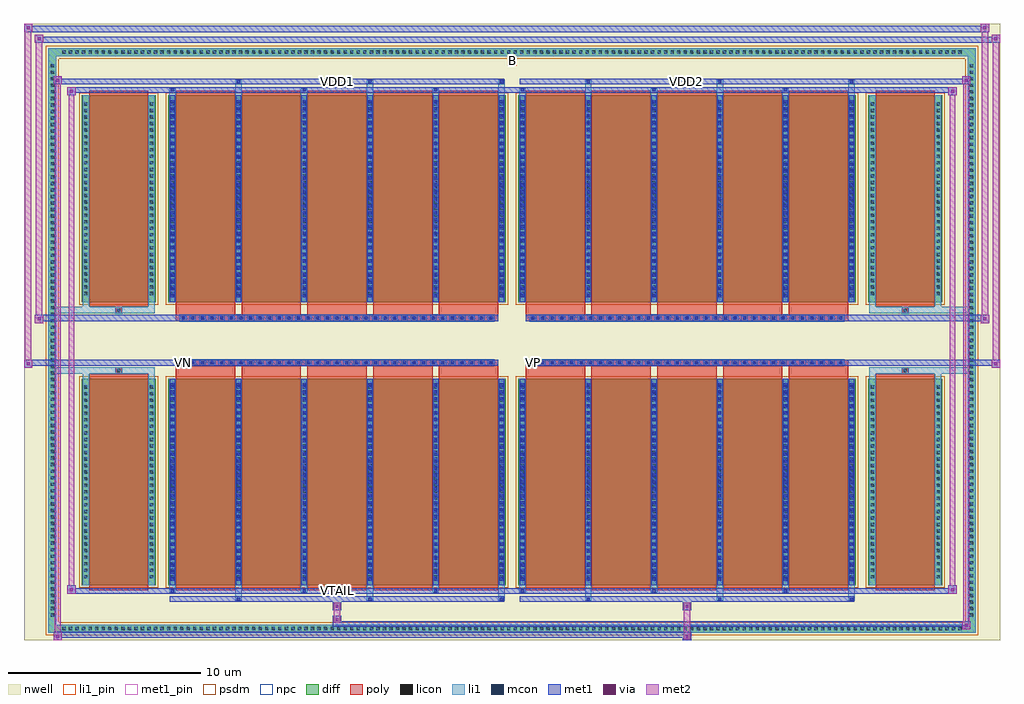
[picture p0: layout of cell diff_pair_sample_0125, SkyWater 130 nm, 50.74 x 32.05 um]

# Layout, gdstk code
import gdstk
lib = gdstk.Library(unit=1e-6, precision=5e-09)
def R(c, l, rs):  # rectangles x0, y0, x1, y1
    for r in rs: c.add(gdstk.rectangle(r[:2], r[2:], *l))
def A(c, l, x, y, w, h, nx, ny, dx, dy):  # array of equal rectangles
    R(c, l, [(x+i*dx, y+j*dy, x+i*dx+w, y+j*dy+h) for i in range(nx) for j in range(ny)])
def P(c, l, *ps):  # polygons
    for p in ps: c.add(gdstk.Polygon(p, *l))
nwell = (64, 20)
diff = (65, 20)
poly = (66, 20)
licon = (66, 44)
li1_pin = (67, 16)
li1 = (67, 20)
mcon = (67, 44)
met1_pin = (68, 16)
met1 = (68, 20)
via = (68, 44)
met2 = (69, 20)
psdm = (94, 20)
npc = (95, 20)

diff_pair_sample_0125 = lib.new_cell('diff_pair_sample_0125')
R(diff_pair_sample_0125, nwell, [(-25.37,-15.59,25.37,16.46), (-22.69,-13.78,-0.01,-0.8), (0.01,-13.78,22.69,-0.8), (-22.69,0.8,-0.01,13.78), (0.01,0.8,22.69,13.78)])
A(diff_pair_sample_0125, diff, -23.495, -15.19, 0.41, 0.41, 138, 2, 0.34, 29.97)
A(diff_pair_sample_0125, diff, -24.1, -14.485, 0.41, 0.41, 1, 85, 0, 0.34)
A(diff_pair_sample_0125, diff, 23.69, -14.485, 0.41, 0.41, 1, 85, 0, 0.34)
R(diff_pair_sample_0125, diff, [(-23.495,-15.19,23.495,-14.78), (-24.1,-14.485,-23.69,14.485), (23.69,-14.485,24.1,14.485), (-22.38,-12.735,-18.51,-1.985), (-17.87,-12.735,-0.32,-1.985), (0.32,-12.735,17.87,-1.985), (18.51,-12.735,22.38,-1.985), (-22.38,1.985,-18.51,12.735), (-17.87,1.985,-0.32,12.735), (0.32,1.985,17.87,12.735), (18.51,1.985,22.38,12.735), (-23.495,14.78,23.495,15.19)])
P(diff_pair_sample_0125, diff, [(24.1,15.19),(-24.1,15.19),(-24.1,-14.78),(-23.69,-14.78),(-23.69,14.78),(23.69,14.78),(23.69,-14.78),(-23.69,-14.78),(-24.1,-14.78),(-24.1,-15.19),(24.1,-15.19)])
A(diff_pair_sample_0125, poly, -17.48, -12.985, 3.09, 11.25, 5, 2, 3.42, 14.72)
A(diff_pair_sample_0125, poly, 0.71, -12.985, 3.09, 11.25, 5, 2, 3.42, 14.72)
A(diff_pair_sample_0125, poly, -17.48, -1.735, 3.09, 0.405, 5, 2, 3.42, 3.065)
A(diff_pair_sample_0125, poly, 0.71, -1.735, 3.09, 0.405, 5, 2, 3.42, 3.065)
A(diff_pair_sample_0125, poly, -17.26, -1.33, 0.33, 0.33, 33, 2, 0.5, 2.33)
A(diff_pair_sample_0125, poly, 0.93, -1.33, 0.33, 0.33, 33, 2, 0.5, 2.33)
R(diff_pair_sample_0125, poly, [(-21.99,-12.985,-18.9,-1.735), (18.9,-12.985,21.99,-1.735), (-20.61,-1.735,-20.28,-1.405), (-20.61,-1.735,-20.28,-1.405), (20.28,-1.735,20.61,-1.405), (20.28,-1.735,20.61,-1.405), (-17.48,-1.33,-0.71,-1), (0.71,-1.33,17.48,-1), (-17.48,1,-0.71,1.33), (0.71,1,17.48,1.33), (-20.61,1.405,-20.28,1.735), (-20.61,1.405,-20.28,1.735), (20.28,1.405,20.61,1.735), (20.28,1.405,20.61,1.735), (-21.99,1.735,-18.9,12.985), (18.9,1.735,21.99,12.985)])
A(diff_pair_sample_0125, licon, -23.375, -15.07, 0.17, 0.17, 138, 2, 0.34, 29.97)
A(diff_pair_sample_0125, licon, -23.98, -14.365, 0.17, 0.17, 1, 85, 0, 0.34)
A(diff_pair_sample_0125, licon, 23.81, -14.365, 0.17, 0.17, 1, 85, 0, 0.34)
A(diff_pair_sample_0125, licon, -22.24, -12.375, 0.17, 0.17, 1, 30, 0, 0.34)
A(diff_pair_sample_0125, licon, -18.82, -12.375, 0.17, 0.17, 1, 30, 0, 0.34)
A(diff_pair_sample_0125, licon, -17.73, -12.375, 0.17, 0.17, 6, 30, 3.42, 0.34)
A(diff_pair_sample_0125, licon, 0.46, -12.375, 0.17, 0.17, 6, 30, 3.42, 0.34)
A(diff_pair_sample_0125, licon, 18.65, -12.375, 0.17, 0.17, 1, 30, 0, 0.34)
A(diff_pair_sample_0125, licon, 22.07, -12.375, 0.17, 0.17, 1, 30, 0, 0.34)
A(diff_pair_sample_0125, licon, -17.18, -1.25, 0.17, 0.17, 33, 2, 0.5, 2.33)
A(diff_pair_sample_0125, licon, 1.01, -1.25, 0.17, 0.17, 33, 2, 0.5, 2.33)
A(diff_pair_sample_0125, licon, -22.24, 2.345, 0.17, 0.17, 1, 30, 0, 0.34)
A(diff_pair_sample_0125, licon, -18.82, 2.345, 0.17, 0.17, 1, 30, 0, 0.34)
A(diff_pair_sample_0125, licon, -17.73, 2.345, 0.17, 0.17, 6, 30, 3.42, 0.34)
A(diff_pair_sample_0125, licon, 0.46, 2.345, 0.17, 0.17, 6, 30, 3.42, 0.34)
A(diff_pair_sample_0125, licon, 18.65, 2.345, 0.17, 0.17, 1, 30, 0, 0.34)
A(diff_pair_sample_0125, licon, 22.07, 2.345, 0.17, 0.17, 1, 30, 0, 0.34)
R(diff_pair_sample_0125, licon, [(-20.53,-1.655,-20.36,-1.485), (20.36,-1.655,20.53,-1.485), (-20.53,1.485,-20.36,1.655), (20.36,1.485,20.53,1.655)])
R(diff_pair_sample_0125, li1_pin, [(-0.25,14.28,0.25,14.78)])
A(diff_pair_sample_0125, li1, -23.455, -15.15, 0.33, 0.33, 138, 2, 0.34, 29.97)
A(diff_pair_sample_0125, li1, -24.06, -14.445, 0.33, 0.33, 1, 85, 0, 0.34)
A(diff_pair_sample_0125, li1, 23.73, -14.445, 0.33, 0.33, 1, 85, 0, 0.34)
A(diff_pair_sample_0125, li1, -14.39, -13.54, 0.33, 0.805, 3, 2, 6.84, 26.275)
A(diff_pair_sample_0125, li1, -14.31, -13.54, 0.17, 0.17, 3, 2, 6.84, 26.91)
A(diff_pair_sample_0125, li1, 3.8, -13.54, 0.33, 0.805, 3, 2, 6.84, 26.275)
A(diff_pair_sample_0125, li1, 3.88, -13.54, 0.17, 0.17, 3, 2, 6.84, 26.91)
A(diff_pair_sample_0125, li1, -17.81, -13.11, 0.33, 0.375, 3, 2, 6.84, 25.845)
A(diff_pair_sample_0125, li1, -17.73, -13.11, 0.17, 0.17, 3, 2, 6.84, 26.05)
A(diff_pair_sample_0125, li1, 0.38, -13.11, 0.33, 0.375, 3, 2, 6.84, 25.845)
A(diff_pair_sample_0125, li1, 0.46, -13.11, 0.17, 0.17, 3, 2, 6.84, 26.05)
A(diff_pair_sample_0125, li1, -17.81, -12.735, 0.33, 10.75, 6, 2, 3.42, 14.72)
A(diff_pair_sample_0125, li1, 0.38, -12.735, 0.33, 10.75, 6, 2, 3.42, 14.72)
A(diff_pair_sample_0125, li1, -17.73, -12.485, 0.17, 0.17, 6, 29, 3.42, 0.36)
A(diff_pair_sample_0125, li1, -17.73, -12.485, 0.17, 10.25, 6, 2, 3.42, 14.72)
A(diff_pair_sample_0125, li1, 0.46, -12.485, 0.17, 0.17, 6, 29, 3.42, 0.36)
A(diff_pair_sample_0125, li1, 0.46, -12.485, 0.17, 10.25, 6, 2, 3.42, 14.72)
A(diff_pair_sample_0125, li1, -22.32, -12.455, 0.33, 0.33, 1, 30, 0, 0.34)
A(diff_pair_sample_0125, li1, -18.9, -12.455, 0.33, 0.33, 1, 30, 0, 0.34)
A(diff_pair_sample_0125, li1, -17.81, -12.455, 0.33, 0.33, 6, 30, 3.42, 0.34)
A(diff_pair_sample_0125, li1, 0.38, -12.455, 0.33, 0.33, 6, 30, 3.42, 0.34)
A(diff_pair_sample_0125, li1, 18.57, -12.455, 0.33, 0.33, 1, 30, 0, 0.34)
A(diff_pair_sample_0125, li1, 21.99, -12.455, 0.33, 0.33, 1, 30, 0, 0.34)
A(diff_pair_sample_0125, li1, -17.26, -1.33, 0.33, 0.33, 33, 2, 0.5, 2.33)
A(diff_pair_sample_0125, li1, 0.93, -1.33, 0.33, 0.33, 33, 2, 0.5, 2.33)
A(diff_pair_sample_0125, li1, -17.73, 2.235, 0.17, 0.17, 6, 29, 3.42, 0.36)
A(diff_pair_sample_0125, li1, 0.46, 2.235, 0.17, 0.17, 6, 29, 3.42, 0.36)
A(diff_pair_sample_0125, li1, -22.32, 2.265, 0.33, 0.33, 1, 30, 0, 0.34)
A(diff_pair_sample_0125, li1, -18.9, 2.265, 0.33, 0.33, 1, 30, 0, 0.34)
A(diff_pair_sample_0125, li1, -17.81, 2.265, 0.33, 0.33, 6, 30, 3.42, 0.34)
A(diff_pair_sample_0125, li1, 0.38, 2.265, 0.33, 0.33, 6, 30, 3.42, 0.34)
A(diff_pair_sample_0125, li1, 18.57, 2.265, 0.33, 0.33, 1, 30, 0, 0.34)
A(diff_pair_sample_0125, li1, 21.99, 2.265, 0.33, 0.33, 1, 30, 0, 0.34)
R(diff_pair_sample_0125, li1, [(-24.1,-15.19,-23.69,-14.78), (-24.1,-15.19,-23.69,-14.78), (-23.69,-15.19,23.69,-14.78), (23.69,-15.19,24.1,-14.78), (23.69,-15.19,24.1,-14.78), (-24.1,-14.78,-23.69,14.78), (23.69,-14.78,24.1,14.78), (-22.32,-12.735,-21.99,-1.985), (-18.9,-12.735,-18.57,-1.985), (18.57,-12.735,18.9,-1.985), (21.99,-12.735,22.32,-1.985), (-22.32,-1.985,-21.99,-1.405), (-18.9,-1.985,-18.57,-1.405), (18.57,-1.985,18.9,-1.405), (21.99,-1.985,22.32,-1.405), (-24.1,-1.735,-20.61,-1.405), (-22.32,-1.735,-20.61,-1.405), (-20.61,-1.735,-20.28,-1.405), (-20.28,-1.735,-18.57,-1.405), (18.57,-1.735,20.28,-1.405), (20.28,-1.735,20.61,-1.405), (20.28,-1.735,24.1,-1.405), (20.61,-1.735,22.32,-1.405), (-24.1,1.405,-20.61,1.735), (-22.32,1.405,-20.61,1.735), (-22.32,1.405,-21.99,1.985), (-20.61,1.405,-20.28,1.735), (-20.28,1.405,-18.57,1.735), (-18.9,1.405,-18.57,1.985), (18.57,1.405,20.28,1.735), (18.57,1.405,18.9,1.985), (20.28,1.405,20.61,1.735), (20.28,1.405,24.1,1.735), (20.61,1.405,22.32,1.735), (21.99,1.405,22.32,1.985), (-22.32,1.985,-21.99,12.735), (-18.9,1.985,-18.57,12.735), (18.57,1.985,18.9,12.735), (21.99,1.985,22.32,12.735), (-24.1,14.78,-23.69,15.19), (-24.1,14.78,-23.69,15.19), (-23.69,14.78,23.69,15.19), (23.69,14.78,24.1,15.19), (23.69,14.78,24.1,15.19)])
A(diff_pair_sample_0125, mcon, -14.31, -13.54, 0.17, 0.17, 3, 2, 6.84, 26.91)
A(diff_pair_sample_0125, mcon, 3.88, -13.54, 0.17, 0.17, 3, 2, 6.84, 26.91)
A(diff_pair_sample_0125, mcon, -17.73, -13.11, 0.17, 0.17, 3, 2, 6.84, 26.05)
A(diff_pair_sample_0125, mcon, 0.46, -13.11, 0.17, 0.17, 3, 2, 6.84, 26.05)
A(diff_pair_sample_0125, mcon, -17.73, -12.485, 0.17, 0.17, 6, 29, 3.42, 0.36)
A(diff_pair_sample_0125, mcon, 0.46, -12.485, 0.17, 0.17, 6, 29, 3.42, 0.36)
A(diff_pair_sample_0125, mcon, -17.18, -1.25, 0.17, 0.17, 33, 2, 0.5, 2.33)
A(diff_pair_sample_0125, mcon, 1.01, -1.25, 0.17, 0.17, 33, 2, 0.5, 2.33)
A(diff_pair_sample_0125, mcon, -17.73, 2.235, 0.17, 0.17, 6, 29, 3.42, 0.36)
A(diff_pair_sample_0125, mcon, 0.46, 2.235, 0.17, 0.17, 6, 29, 3.42, 0.36)
R(diff_pair_sample_0125, met1_pin, [(-9.23,-13.15,-8.96,-12.88), (-17.23,-1.29,-16.96,-1.02), (0.96,-1.29,1.23,-1.02), (-9.23,13.33,-8.96,13.6), (8.96,13.33,9.23,13.6)])
A(diff_pair_sample_0125, met1, -14.37, -13.6, 0.29, 0.29, 3, 2, 6.84, 26.91)
A(diff_pair_sample_0125, met1, 3.82, -13.6, 0.29, 0.29, 3, 2, 6.84, 26.91)
A(diff_pair_sample_0125, met1, -17.79, -13.17, 0.29, 0.29, 3, 2, 6.84, 26.05)
A(diff_pair_sample_0125, met1, 0.4, -13.17, 0.29, 0.29, 3, 2, 6.84, 26.05)
A(diff_pair_sample_0125, met1, -17.79, -12.735, 0.29, 10.75, 6, 2, 3.42, 14.72)
A(diff_pair_sample_0125, met1, 0.4, -12.735, 0.29, 10.75, 6, 2, 3.42, 14.72)
A(diff_pair_sample_0125, met1, -17.79, -12.545, 0.29, 0.29, 6, 29, 3.42, 0.36)
A(diff_pair_sample_0125, met1, 0.4, -12.545, 0.29, 0.29, 6, 29, 3.42, 0.36)
A(diff_pair_sample_0125, met1, -17.24, -1.31, 0.29, 0.29, 33, 2, 0.5, 2.33)
A(diff_pair_sample_0125, met1, 0.95, -1.31, 0.29, 0.29, 33, 2, 0.5, 2.33)
A(diff_pair_sample_0125, met1, -17.79, 2.175, 0.29, 0.29, 6, 29, 3.42, 0.36)
A(diff_pair_sample_0125, met1, 0.4, 2.175, 0.29, 0.29, 6, 29, 3.42, 0.36)
R(diff_pair_sample_0125, met1, [(-23.83,-15.59,-23.4,-15.16), (8.88,-15.59,9.31,-15.16), (-23.83,-15.45,9.31,-15.16), (23.4,-15.02,23.83,-14.59), (-9.31,-14.88,23.83,-14.59), (-9.31,-14.74,-8.88,-14.31), (-9.31,-14.03,-8.88,-13.6), (8.88,-14.03,9.31,-13.6), (-17.79,-13.6,-0.4,-13.31), (0.4,-13.6,17.79,-13.31), (-23.12,-13.17,-22.69,-12.74), (-23.12,-13.17,-17.79,-12.88), (-17.79,-13.17,-0.4,-12.88), (-0.4,-13.17,0.4,-12.88), (0.4,-13.17,17.79,-12.88), (17.79,-13.17,23.12,-12.88), (22.69,-13.17,23.12,-12.74), (-25.37,-1.43,-24.94,-1), (24.94,-1.43,25.37,-1), (-25.37,-1.33,-0.71,-1), (-17.48,-1.33,-0.71,-1), (0.71,-1.33,17.48,-1), (0.71,-1.33,25.37,-1), (-24.8,0.9,-24.37,1.33), (24.37,0.9,24.8,1.33), (-24.8,1,-17.48,1.33), (-17.48,1,-0.71,1.33), (0.71,1,17.48,1.33), (17.48,1,24.8,1.33), (-23.12,12.74,-22.69,13.17), (22.69,12.74,23.12,13.17), (-23.12,12.88,-17.79,13.17), (-17.79,12.88,-0.4,13.17), (-0.4,12.88,0.4,13.17), (0.4,12.88,17.79,13.17), (17.79,12.88,23.12,13.17), (-23.83,13.31,-23.4,13.74), (-23.83,13.31,-17.79,13.6), (-17.79,13.31,-0.4,13.6), (0.4,13.31,17.79,13.6), (17.79,13.31,23.83,13.6), (23.4,13.31,23.83,13.74), (-24.8,15.46,-24.37,15.89), (-24.8,15.46,-22.69,15.79), (-22.69,15.46,22.69,15.79), (22.69,15.46,25.37,15.79), (24.94,15.46,25.37,15.89), (-25.37,16.03,-24.94,16.46), (-25.37,16.03,-22.69,16.36), (-22.69,16.03,22.69,16.36), (22.69,16.03,24.8,16.36), (24.37,16.03,24.8,16.46)])
R(diff_pair_sample_0125, via, [(-23.69,-15.45,-23.54,-15.3), (9.02,-15.45,9.17,-15.3), (23.54,-14.88,23.69,-14.73), (-9.17,-14.6,-9.02,-14.45), (-9.17,-13.89,-9.02,-13.74), (9.02,-13.89,9.17,-13.74), (-22.98,-13.03,-22.83,-12.88), (22.83,-13.03,22.98,-12.88), (-25.23,-1.29,-25.08,-1.14), (25.08,-1.29,25.23,-1.14), (-24.66,1.04,-24.51,1.19), (24.51,1.04,24.66,1.19), (-22.98,12.88,-22.83,13.03), (22.83,12.88,22.98,13.03), (-23.69,13.45,-23.54,13.6), (23.54,13.45,23.69,13.6), (-24.66,15.6,-24.51,15.75), (25.08,15.6,25.23,15.75), (-25.23,16.17,-25.08,16.32), (24.51,16.17,24.66,16.32)])
R(diff_pair_sample_0125, met2, [(-23.83,-15.59,-23.4,-15.16), (-23.76,-15.59,-23.47,13.74), (-23.47,-15.59,-23.4,-15.16), (-23.78,-15.54,-23.45,-15.21), (8.93,-15.54,9.26,-15.21), (8.93,-15.21,9.26,-13.98), (23.4,-15.02,23.83,-14.59), (23.47,-15.02,23.76,13.74), (23.76,-15.02,23.83,-14.59), (23.45,-14.97,23.78,-14.64), (-9.26,-14.69,-8.93,-14.36), (-9.26,-14.36,-8.93,-13.98), (-9.26,-13.98,-8.93,-13.65), (8.93,-13.98,9.26,-13.65), (-23.12,-13.17,-22.69,-12.74), (-23.05,-13.17,-22.76,13.17), (-22.76,-13.17,-22.69,-12.74), (22.69,-13.17,23.12,-12.74), (22.76,-13.17,23.05,13.17), (23.05,-13.17,23.12,-12.74), (-23.07,-13.12,-22.74,-12.79), (22.74,-13.12,23.07,-12.79), (-25.37,-1.43,-24.94,-1), (-25.32,-1.43,-24.99,16.46), (-24.99,-1.43,-24.94,-1), (24.94,-1.43,25.37,-1), (24.99,-1.43,25.32,15.89), (25.32,-1.43,25.37,-1), (-25.32,-1.38,-24.99,-1.05), (24.99,-1.38,25.32,-1.05), (-24.8,0.9,-24.37,1.33), (-24.75,0.9,-24.42,15.89), (-24.42,0.9,-24.37,1.33), (24.37,0.9,24.8,1.33), (24.42,0.9,24.75,16.46), (24.75,0.9,24.8,1.33), (-24.75,0.95,-24.42,1.28), (24.42,0.95,24.75,1.28), (-23.12,12.74,-22.69,13.17), (-22.76,12.74,-22.69,13.17), (22.69,12.74,23.12,13.17), (23.05,12.74,23.12,13.17), (-23.07,12.79,-22.74,13.12), (22.74,12.79,23.07,13.12), (-23.83,13.31,-23.4,13.74), (-23.47,13.31,-23.4,13.74), (23.4,13.31,23.83,13.74), (23.76,13.31,23.83,13.74), (-23.78,13.36,-23.45,13.69), (23.45,13.36,23.78,13.69), (-24.8,15.46,-24.37,15.89), (-24.42,15.46,-24.37,15.89), (24.94,15.46,25.37,15.89), (25.32,15.46,25.37,15.89), (-24.75,15.51,-24.42,15.84), (24.99,15.51,25.32,15.84), (-25.37,16.03,-24.94,16.46), (-24.99,16.03,-24.94,16.46), (24.37,16.03,24.8,16.46), (24.75,16.03,24.8,16.46), (-25.32,16.08,-24.99,16.41), (24.42,16.08,24.75,16.41)])
R(diff_pair_sample_0125, psdm, [(-22.51,-12.865,-18.38,-1.855), (-18,-12.865,-0.19,-1.855), (0.19,-12.865,18,-1.855), (18.38,-12.865,22.51,-1.855), (-22.51,1.855,-18.38,12.865), (-18,1.855,-0.19,12.865), (0.19,1.855,18,12.865), (18.38,1.855,22.51,12.865)])
P(diff_pair_sample_0125, psdm, [(24.23,15.32),(-24.23,15.32),(-24.23,-14.65),(-23.56,-14.65),(-23.56,14.65),(23.56,14.65),(23.56,-14.65),(-23.56,-14.65),(-24.23,-14.65),(-24.23,-15.32),(24.23,-15.32)])
A(diff_pair_sample_0125, npc, -17.28, -1.35, 0.37, 0.37, 33, 2, 0.5, 2.33)
A(diff_pair_sample_0125, npc, 0.91, -1.35, 0.37, 0.37, 33, 2, 0.5, 2.33)
R(diff_pair_sample_0125, npc, [(-20.63,-1.755,-20.26,-1.385), (20.26,-1.755,20.63,-1.385), (-17.28,-1.35,-16.41,-0.98), (-17.28,-1.35,-16.41,-0.98), (-16.78,-1.35,-15.91,-0.98), (-16.78,-1.35,-15.91,-0.98), (-16.28,-1.35,-15.41,-0.98), (-16.28,-1.35,-15.41,-0.98), (-15.78,-1.35,-14.91,-0.98), (-15.78,-1.35,-14.91,-0.98), (-15.28,-1.35,-14.41,-0.98), (-15.28,-1.35,-14.41,-0.98), (-14.78,-1.35,-13.91,-0.98), (-14.78,-1.35,-13.91,-0.98), (-14.28,-1.35,-13.41,-0.98), (-14.28,-1.35,-13.41,-0.98), (-13.78,-1.35,-12.91,-0.98), (-13.78,-1.35,-12.91,-0.98), (-13.28,-1.35,-12.41,-0.98), (-13.28,-1.35,-12.41,-0.98), (-12.78,-1.35,-11.91,-0.98), (-12.78,-1.35,-11.91,-0.98), (-12.28,-1.35,-11.41,-0.98), (-12.28,-1.35,-11.41,-0.98), (-11.78,-1.35,-10.91,-0.98), (-11.78,-1.35,-10.91,-0.98), (-11.28,-1.35,-10.41,-0.98), (-11.28,-1.35,-10.41,-0.98), (-10.78,-1.35,-9.91,-0.98), (-10.78,-1.35,-9.91,-0.98), (-10.28,-1.35,-9.41,-0.98), (-10.28,-1.35,-9.41,-0.98), (-9.78,-1.35,-8.91,-0.98), (-9.78,-1.35,-8.91,-0.98), (-9.28,-1.35,-8.41,-0.98), (-9.28,-1.35,-8.41,-0.98), (-8.78,-1.35,-7.91,-0.98), (-8.78,-1.35,-7.91,-0.98), (-8.28,-1.35,-7.41,-0.98), (-8.28,-1.35,-7.41,-0.98), (-7.78,-1.35,-6.91,-0.98), (-7.78,-1.35,-6.91,-0.98), (-7.28,-1.35,-6.41,-0.98), (-7.28,-1.35,-6.41,-0.98), (-6.78,-1.35,-5.91,-0.98), (-6.78,-1.35,-5.91,-0.98), (-6.28,-1.35,-5.41,-0.98), (-6.28,-1.35,-5.41,-0.98), (-5.78,-1.35,-4.91,-0.98), (-5.78,-1.35,-4.91,-0.98), (-5.28,-1.35,-4.41,-0.98), (-5.28,-1.35,-4.41,-0.98), (-4.78,-1.35,-3.91,-0.98), (-4.78,-1.35,-3.91,-0.98), (-4.28,-1.35,-3.41,-0.98), (-4.28,-1.35,-3.41,-0.98), (-3.78,-1.35,-2.91,-0.98), (-3.78,-1.35,-2.91,-0.98), (-3.28,-1.35,-2.41,-0.98), (-3.28,-1.35,-2.41,-0.98), (-2.78,-1.35,-1.91,-0.98), (-2.78,-1.35,-1.91,-0.98), (-2.28,-1.35,-1.41,-0.98), (-2.28,-1.35,-1.41,-0.98), (-1.78,-1.35,-0.91,-0.98), (-1.78,-1.35,-0.91,-0.98), (0.91,-1.35,1.78,-0.98), (0.91,-1.35,1.78,-0.98), (1.41,-1.35,2.28,-0.98), (1.41,-1.35,2.28,-0.98), (1.91,-1.35,2.78,-0.98), (1.91,-1.35,2.78,-0.98), (2.41,-1.35,3.28,-0.98), (2.41,-1.35,3.28,-0.98), (2.91,-1.35,3.78,-0.98), (2.91,-1.35,3.78,-0.98), (3.41,-1.35,4.28,-0.98), (3.41,-1.35,4.28,-0.98), (3.91,-1.35,4.78,-0.98), (3.91,-1.35,4.78,-0.98), (4.41,-1.35,5.28,-0.98), (4.41,-1.35,5.28,-0.98), (4.91,-1.35,5.78,-0.98), (4.91,-1.35,5.78,-0.98), (5.41,-1.35,6.28,-0.98), (5.41,-1.35,6.28,-0.98), (5.91,-1.35,6.78,-0.98), (5.91,-1.35,6.78,-0.98), (6.41,-1.35,7.28,-0.98), (6.41,-1.35,7.28,-0.98), (6.91,-1.35,7.78,-0.98), (6.91,-1.35,7.78,-0.98), (7.41,-1.35,8.28,-0.98), (7.41,-1.35,8.28,-0.98), (7.91,-1.35,8.78,-0.98), (7.91,-1.35,8.78,-0.98), (8.41,-1.35,9.28,-0.98), (8.41,-1.35,9.28,-0.98), (8.91,-1.35,9.78,-0.98), (8.91,-1.35,9.78,-0.98), (9.41,-1.35,10.28,-0.98), (9.41,-1.35,10.28,-0.98), (9.91,-1.35,10.78,-0.98), (9.91,-1.35,10.78,-0.98), (10.41,-1.35,11.28,-0.98), (10.41,-1.35,11.28,-0.98), (10.91,-1.35,11.78,-0.98), (10.91,-1.35,11.78,-0.98), (11.41,-1.35,12.28,-0.98), (11.41,-1.35,12.28,-0.98), (11.91,-1.35,12.78,-0.98), (11.91,-1.35,12.78,-0.98), (12.41,-1.35,13.28,-0.98), (12.41,-1.35,13.28,-0.98), (12.91,-1.35,13.78,-0.98), (12.91,-1.35,13.78,-0.98), (13.41,-1.35,14.28,-0.98), (13.41,-1.35,14.28,-0.98), (13.91,-1.35,14.78,-0.98), (13.91,-1.35,14.78,-0.98), (14.41,-1.35,15.28,-0.98), (14.41,-1.35,15.28,-0.98), (14.91,-1.35,15.78,-0.98), (14.91,-1.35,15.78,-0.98), (15.41,-1.35,16.28,-0.98), (15.41,-1.35,16.28,-0.98), (15.91,-1.35,16.78,-0.98), (15.91,-1.35,16.78,-0.98), (16.41,-1.35,17.28,-0.98), (16.41,-1.35,17.28,-0.98), (-17.28,0.98,-16.41,1.35), (-17.28,0.98,-16.41,1.35), (-16.78,0.98,-15.91,1.35), (-16.78,0.98,-15.91,1.35), (-16.28,0.98,-15.41,1.35), (-16.28,0.98,-15.41,1.35), (-15.78,0.98,-14.91,1.35), (-15.78,0.98,-14.91,1.35), (-15.28,0.98,-14.41,1.35), (-15.28,0.98,-14.41,1.35), (-14.78,0.98,-13.91,1.35), (-14.78,0.98,-13.91,1.35), (-14.28,0.98,-13.41,1.35), (-14.28,0.98,-13.41,1.35), (-13.78,0.98,-12.91,1.35), (-13.78,0.98,-12.91,1.35), (-13.28,0.98,-12.41,1.35), (-13.28,0.98,-12.41,1.35), (-12.78,0.98,-11.91,1.35), (-12.78,0.98,-11.91,1.35), (-12.28,0.98,-11.41,1.35), (-12.28,0.98,-11.41,1.35), (-11.78,0.98,-10.91,1.35), (-11.78,0.98,-10.91,1.35), (-11.28,0.98,-10.41,1.35), (-11.28,0.98,-10.41,1.35), (-10.78,0.98,-9.91,1.35), (-10.78,0.98,-9.91,1.35), (-10.28,0.98,-9.41,1.35), (-10.28,0.98,-9.41,1.35), (-9.78,0.98,-8.91,1.35), (-9.78,0.98,-8.91,1.35), (-9.28,0.98,-8.41,1.35), (-9.28,0.98,-8.41,1.35), (-8.78,0.98,-7.91,1.35), (-8.78,0.98,-7.91,1.35), (-8.28,0.98,-7.41,1.35), (-8.28,0.98,-7.41,1.35), (-7.78,0.98,-6.91,1.35), (-7.78,0.98,-6.91,1.35), (-7.28,0.98,-6.41,1.35), (-7.28,0.98,-6.41,1.35), (-6.78,0.98,-5.91,1.35), (-6.78,0.98,-5.91,1.35), (-6.28,0.98,-5.41,1.35), (-6.28,0.98,-5.41,1.35), (-5.78,0.98,-4.91,1.35), (-5.78,0.98,-4.91,1.35), (-5.28,0.98,-4.41,1.35), (-5.28,0.98,-4.41,1.35), (-4.78,0.98,-3.91,1.35), (-4.78,0.98,-3.91,1.35), (-4.28,0.98,-3.41,1.35), (-4.28,0.98,-3.41,1.35), (-3.78,0.98,-2.91,1.35), (-3.78,0.98,-2.91,1.35), (-3.28,0.98,-2.41,1.35), (-3.28,0.98,-2.41,1.35), (-2.78,0.98,-1.91,1.35), (-2.78,0.98,-1.91,1.35), (-2.28,0.98,-1.41,1.35), (-2.28,0.98,-1.41,1.35), (-1.78,0.98,-0.91,1.35), (-1.78,0.98,-0.91,1.35), (0.91,0.98,1.78,1.35), (0.91,0.98,1.78,1.35), (1.41,0.98,2.28,1.35), (1.41,0.98,2.28,1.35), (1.91,0.98,2.78,1.35), (1.91,0.98,2.78,1.35), (2.41,0.98,3.28,1.35), (2.41,0.98,3.28,1.35), (2.91,0.98,3.78,1.35), (2.91,0.98,3.78,1.35), (3.41,0.98,4.28,1.35), (3.41,0.98,4.28,1.35), (3.91,0.98,4.78,1.35), (3.91,0.98,4.78,1.35), (4.41,0.98,5.28,1.35), (4.41,0.98,5.28,1.35), (4.91,0.98,5.78,1.35), (4.91,0.98,5.78,1.35), (5.41,0.98,6.28,1.35), (5.41,0.98,6.28,1.35), (5.91,0.98,6.78,1.35), (5.91,0.98,6.78,1.35), (6.41,0.98,7.28,1.35), (6.41,0.98,7.28,1.35), (6.91,0.98,7.78,1.35), (6.91,0.98,7.78,1.35), (7.41,0.98,8.28,1.35), (7.41,0.98,8.28,1.35), (7.91,0.98,8.78,1.35), (7.91,0.98,8.78,1.35), (8.41,0.98,9.28,1.35), (8.41,0.98,9.28,1.35), (8.91,0.98,9.78,1.35), (8.91,0.98,9.78,1.35), (9.41,0.98,10.28,1.35), (9.41,0.98,10.28,1.35), (9.91,0.98,10.78,1.35), (9.91,0.98,10.78,1.35), (10.41,0.98,11.28,1.35), (10.41,0.98,11.28,1.35), (10.91,0.98,11.78,1.35), (10.91,0.98,11.78,1.35), (11.41,0.98,12.28,1.35), (11.41,0.98,12.28,1.35), (11.91,0.98,12.78,1.35), (11.91,0.98,12.78,1.35), (12.41,0.98,13.28,1.35), (12.41,0.98,13.28,1.35), (12.91,0.98,13.78,1.35), (12.91,0.98,13.78,1.35), (13.41,0.98,14.28,1.35), (13.41,0.98,14.28,1.35), (13.91,0.98,14.78,1.35), (13.91,0.98,14.78,1.35), (14.41,0.98,15.28,1.35), (14.41,0.98,15.28,1.35), (14.91,0.98,15.78,1.35), (14.91,0.98,15.78,1.35), (15.41,0.98,16.28,1.35), (15.41,0.98,16.28,1.35), (15.91,0.98,16.78,1.35), (15.91,0.98,16.78,1.35), (16.41,0.98,17.28,1.35), (16.41,0.98,17.28,1.35), (-20.63,1.385,-20.26,1.755), (20.26,1.385,20.63,1.755)])
diff_pair_sample_0125.add(gdstk.Label('VTAIL', (-9.095,-13.015), layer=68, texttype=5))
diff_pair_sample_0125.add(gdstk.Label('VN', (-17.095,-1.155), layer=68, texttype=5))
diff_pair_sample_0125.add(gdstk.Label('VP', (1.095,-1.155), layer=68, texttype=5))
diff_pair_sample_0125.add(gdstk.Label('B', (0,14.53), layer=67, texttype=5))
diff_pair_sample_0125.add(gdstk.Label('VDD2', (9.095,13.465), layer=68, texttype=5))
diff_pair_sample_0125.add(gdstk.Label('VDD1', (-9.095,13.465), layer=68, texttype=5))

lib.write_gds('diff_pair_sample_0125.gds')
